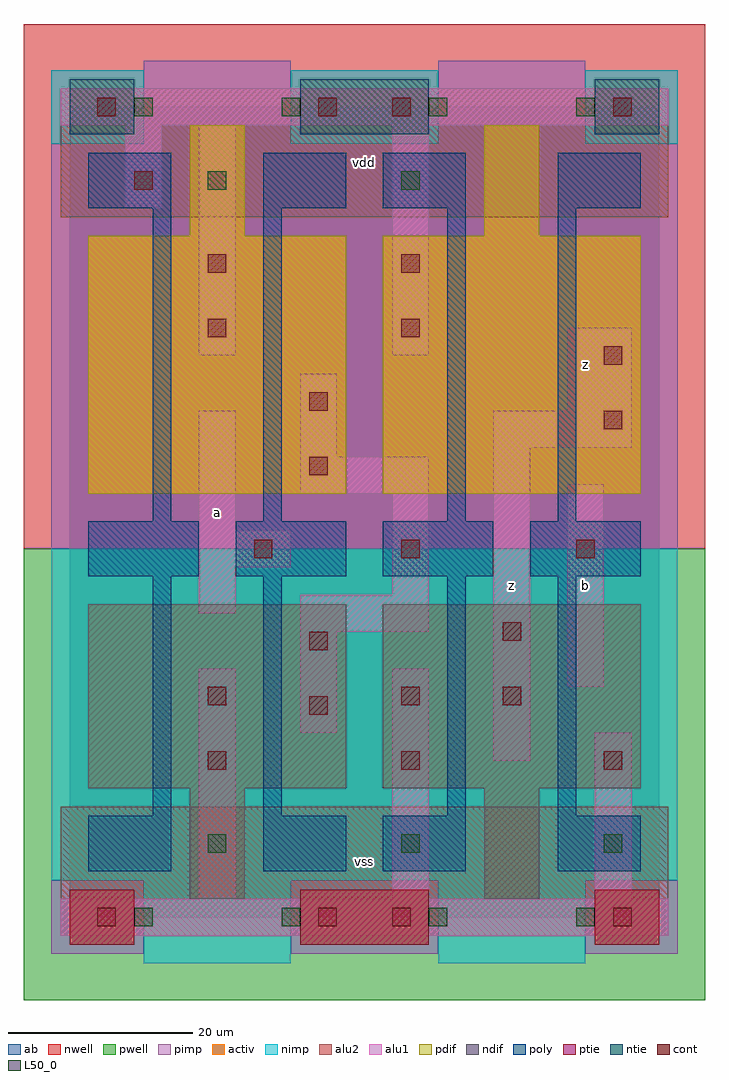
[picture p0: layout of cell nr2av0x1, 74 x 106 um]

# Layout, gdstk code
import gdstk
lib = gdstk.Library(unit=1e-6, precision=1e-09)
def R(c, l, rs):  # rectangles x0, y0, x1, y1
    for r in rs: c.add(gdstk.rectangle(r[:2], r[2:], *l))
def A(c, l, x, y, w, h, nx, ny, dx, dy):  # array of equal rectangles
    R(c, l, [(x+i*dx, y+j*dy, x+i*dx+w, y+j*dy+h) for i in range(nx) for j in range(ny)])
ndif = (3, 0)
pdif = (4, 0)
ntie = (5, 0)
ptie = (6, 0)
cont = (25, 0)
pwell = (41, 0)
nwell = (42, 0)
activ = (43, 0)
pimp = (44, 0)
nimp = (45, 0)
poly = (46, 0)
alu1 = (49, 0)
L50_0 = (50, 0)
alu2 = (51, 0)
ab = (63, 0)

nr2av0x1 = lib.new_cell('nr2av0x1')
R(nr2av0x1, ndif, [(13,2,19,14), (45,2,51,14), (2,14,30,34), (34,14,62,34)])
R(nr2av0x1, pdif, [(2,46,30,74), (34,46,62,74), (13,74,19,86), (45,74,51,86)])
R(nr2av0x1, ntie, [(0,85,7,91), (25,85,39,91), (57,85,64,91)])
R(nr2av0x1, ptie, [(0,-3,7,3), (25,-3,39,3), (57,-3,64,3)])
R(nr2av0x1, cont, [(3,-1,5,1), (27,-1,29,1), (35,-1,37,1), (59,-1,61,1), (15,16,17,18), (36,16,38,18), (58,16,60,18), (26,22,28,24), (15,23,17,25), (36,23,38,25), (47,23,49,25), (26,29,28,31), (47,30,49,32), (20,39,22,41), (36,39,38,41), (55,39,57,41), (26,48,28,50), (58,53,60,55), (26,55,28,57), (58,60,60,62), (15,63,17,65), (36,63,38,65), (15,70,17,72), (36,70,38,72), (7,79,9,81), (3,87,5,89), (27,87,29,89), (35,87,37,89), (59,87,61,89)])
R(nr2av0x1, pwell, [(-5,-9,69,40)])
R(nr2av0x1, nwell, [(-5,40,69,97)])
R(nr2av0x1, activ, [(0,-3,7,3), (25,-3,39,3), (57,-3,64,3), (13,2,19,14), (45,2,51,14), (2,14,30,34), (34,14,62,34), (2,46,30,74), (34,46,62,74), (13,74,19,86), (45,74,51,86), (0,85,7,91), (25,85,39,91), (57,85,64,91)])
R(nr2av0x1, pimp, [(-2,-4,8,4), (24,-4,40,4), (56,-4,66,4), (-2,40,66,84), (8,84,24,93), (40,84,56,93)])
R(nr2av0x1, nimp, [(8,-5,24,4), (40,-5,56,4), (-2,4,66,40), (-2,84,8,92), (24,84,40,92), (56,84,66,92)])
A(nr2av0x1, poly, 2, 37, 12, 6, 4, 1, 16, 0)
R(nr2av0x1, poly, [(2,5,11,11), (21,5,30,11), (34,5,43,11), (53,5,62,11), (9,11,11,37), (21,11,23,37), (41,11,43,37), (53,11,55,37), (9,43,11,77), (21,43,23,77), (41,43,43,77), (53,43,55,77), (2,77,11,83), (21,77,30,83), (34,77,43,83), (53,77,62,83)])
R(nr2av0x1, alu1, [(-1,-2,65,2), (14,2,18,27), (35,2,39,27), (57,2,61,20), (46,17,50,51), (25,20,29,31), (54,25,58,47), (25,31,39,35), (14,33,18,38), (35,35,39,46), (14,38,24,42), (14,42,18,55), (25,46,39,50), (25,50,29,59), (46,51,61,55), (54,55,61,64), (14,61,18,86), (35,61,39,86), (6,77,10,86), (-1,86,65,90)])
A(nr2av0x1, L50_0, 7, -1, 2, 2, 4, 2, 16, 88)
R(nr2av0x1, L50_0, [(15,7,17,9), (36,7,38,9), (58,7,60,9), (15,79,17,81), (36,79,38,81)])
R(nr2av0x1, alu2, [(-1,-2,65,12), (-1,76,65,90)])
R(nr2av0x1, ab, [(0,0,64,88)])
nr2av0x1.add(gdstk.Label('a', (16,44), layer=49, texttype=0))
nr2av0x1.add(gdstk.Label('z', (48,36), layer=49, texttype=0))
nr2av0x1.add(gdstk.Label('b', (56,36), layer=49, texttype=0))
nr2av0x1.add(gdstk.Label('z', (56,60), layer=49, texttype=0))
nr2av0x1.add(gdstk.Label('vss', (32,6), layer=51, texttype=0))
nr2av0x1.add(gdstk.Label('vdd', (32,82), layer=51, texttype=0))

lib.write_gds('nr2av0x1.gds')
